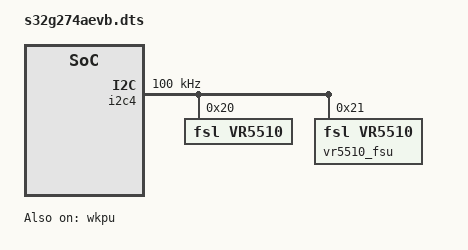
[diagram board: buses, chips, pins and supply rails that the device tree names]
/*
 * Copyright 2020 NXP
 *
 * SPDX-License-Identifier: BSD-3-Clause
 */
#include <dt-bindings/reset/s32gen1-wkpu.h>

/dts-v1/;

/ {
	compatible = "fsl,s32g274aevb";
	#address-cells = <1>;
	#size-cells = <1>;

	aliases {
		i2c4 = &i2c4;
	};

	i2c4: i2c@402D8000 {
		compatible = "fsl,vf610-i2c";
		#address-cells = <1>;
		#size-cells = <0>;
		reg = <0x402DC000 0x10000>;
	};
};

/* PMIC */
&i2c4 {
	status = "okay";
	clock-frequency=<100000>;

	vr5510@20 {
		compatible = "fsl,vr5510";
		reg = <0x20>;
		status = "okay";
	};

	vr5510_fsu@21 {
		compatible = "fsl,vr5510";
		reg = <0x21>;
		status = "okay";
	};

};

&wkpu {
	status = "okay";
};
